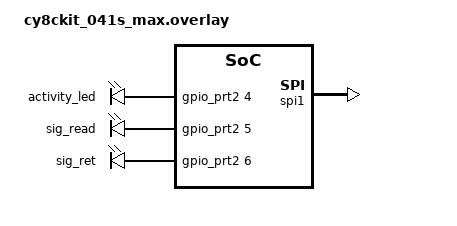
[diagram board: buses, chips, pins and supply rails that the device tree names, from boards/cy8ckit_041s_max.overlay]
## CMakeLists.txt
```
# SPDX-License-Identifier: Apache-2.0

cmake_minimum_required(VERSION 3.28.0)
find_package(Zephyr REQUIRED HINTS $ENV{ZEPHYR_BASE})
project(spi_psoc4_slave)

FILE(GLOB app_sources src/*.c)
target_sources(app PRIVATE ${app_sources})
```

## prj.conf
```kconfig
# SCB0 is the console UART on this board; it is repurposed as SPI slave
# here, so no UART/console is available in this sample.
CONFIG_SPI=y
CONFIG_SPI_SLAVE=y
CONFIG_GPIO=y

CONFIG_MAIN_STACK_SIZE=1024
CONFIG_ISR_STACK_SIZE=768
```

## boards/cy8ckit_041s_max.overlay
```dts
/*
 * SPDX-FileCopyrightText: <text>Copyright (c) 2026 Infineon Technologies AG,
 * or an affiliate of Infineon Technologies AG. All rights reserved.</text>
 *
 * SPDX-License-Identifier: Apache-2.0
 */

#include <zephyr/dt-bindings/gpio/gpio.h>

/* SCB1 is routed to the P2 header pins on this board. Slave mode needs the
 * hardware slave-select line (P2.3); the generic GPIO CS used by the master
 * sample does not apply here.
 *
 * Logic-analyzer / external-master probe points:
 *   MOSI -> P2.0
 *   MISO -> P2.1
 *   SCLK -> P2.2
 *   CS   -> P2.3 (hardware slave select, active low)
 */

&spi1 {
	compatible = "infineon,spi";
	status = "okay";
	pinctrl-0 = <&p2_0_scb1_spi_s_mosi &p2_1_scb1_spi_s_miso
		     &p2_2_scb1_spi_s_clk &p2_3_scb1_spi_s_select0>;
	pinctrl-names = "default";
};

&p2_0_scb1_spi_s_mosi {
	input-enable;
};

&p2_1_scb1_spi_s_miso {
	drive-push-pull;
};

&p2_2_scb1_spi_s_clk {
	input-enable;
};

&p2_3_scb1_spi_s_select0 {
	input-enable;
	bias-pull-up;
};

&gpio_prt2 {
	status = "okay";
};

/* The board has only LED0, so use spare P2 pins for activity and debug
 * markers. Verify these pins against the external wiring before probing.
 */
/ {
	leds {
		activity_led: activity_led {
			gpios = <&gpio_prt2 4 GPIO_ACTIVE_HIGH>;
		};
	};

	debug_signals {
		compatible = "gpio-leds";
		status = "okay";

		sig_read: sig_read {
			gpios = <&gpio_prt2 5 GPIO_ACTIVE_HIGH>;
		};

		sig_ret: sig_ret {
			gpios = <&gpio_prt2 6 GPIO_ACTIVE_HIGH>;
		};
	};

	aliases {
		led1 = &activity_led;
		sig0 = &sig_read;
		sig1 = &sig_ret;
	};
};
```

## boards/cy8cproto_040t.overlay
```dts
/*
 * SPDX-FileCopyrightText: <text>Copyright (c) 2026 Infineon Technologies AG,
 * or an affiliate of Infineon Technologies AG. All rights reserved.</text>
 *
 * SPDX-License-Identifier: Apache-2.0
 */

#include <zephyr/dt-bindings/gpio/gpio.h>

/* SCB0 is the only SPI-capable SCB on this package, so the hardware UART
 * console on SCB0 is disabled in favor of SPI slave mode. Slave mode needs
 * the hardware slave-select line (P2.5), since the generic GPIO CS used by
 * the master sample does not apply here. This sample has no console;
 * received commands are shown by toggling the onboard LED (LED0).
 *
 * Logic-analyzer / external-master probe points:
 *   MOSI -> P0.2
 *   MISO -> P0.3
 *   SCLK -> P2.4
 *   CS   -> P2.5 (hardware slave select, active low)
 */

uart0: &scb0 {
	status = "disabled";
};

spi1: &scb0 {
	compatible = "infineon,spi";
	status = "okay";
	/delete-property/ current-speed;
	pinctrl-0 = <&p0_2_scb0_spi_mosi &p0_3_scb0_spi_miso
		     &p2_4_scb0_spi_clk &p2_5_scb0_spi_select0>;
	pinctrl-names = "default";
	clocks = <&peri_clk_div1>;
	#address-cells = <1>;
	#size-cells = <0>;
};

&p0_2_scb0_spi_mosi {
	input-enable;
};

&p0_3_scb0_spi_miso {
	drive-push-pull;
};

&p2_4_scb0_spi_clk {
	input-enable;
};

&p2_5_scb0_spi_select0 {
	input-enable;
	bias-pull-up;
};

&gpio_prt0 {
	status = "okay";
};

&gpio_prt2 {
	status = "okay";
};

&peri_clk_div1 {
	status = "okay";
	clock-div = <3>;
};

/* Logic-analyzer debug markers (change pins to match your wiring):
 *   sig0 (P0.4): HIGH while blocked inside spi_read()
 *   sig1 (P0.1): HIGH when the last spi_read() returned 0, LOW on error
 */
/ {
	debug_signals {
		compatible = "gpio-leds";
		status = "okay";

		sig_read: sig_read {
			gpios = <&gpio_prt0 4 GPIO_ACTIVE_HIGH>;
		};

		sig_ret: sig_ret {
			gpios = <&gpio_prt0 1 GPIO_ACTIVE_HIGH>;
		};
	};

	aliases {
		sig0 = &sig_read;
		sig1 = &sig_ret;
	};
};
```

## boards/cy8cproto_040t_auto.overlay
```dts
/*
 * SPDX-FileCopyrightText: <text>Copyright (c) 2026 Infineon Technologies AG,
 * or an affiliate of Infineon Technologies AG. All rights reserved.</text>
 *
 * SPDX-License-Identifier: Apache-2.0
 */

#include <zephyr/dt-bindings/gpio/gpio.h>

/* SCB0 is the only SPI-capable SCB on this package, so the hardware UART
 * console on SCB0 is disabled in favor of SPI slave mode. Slave mode needs
 * the hardware slave-select line (P2.5), since the generic GPIO CS used by
 * the master sample does not apply here. This sample has no console;
 * received commands are shown by toggling the onboard LED (LED0).
 *
 * Logic-analyzer / external-master probe points:
 *   MOSI -> P0.2
 *   MISO -> P0.3
 *   SCLK -> P2.4
 *   CS   -> P2.5 (hardware slave select, active low)
 */

uart0: &scb0 {
	status = "disabled";
};

spi1: &scb0 {
	compatible = "infineon,spi";
	status = "okay";
	/delete-property/ current-speed;
	pinctrl-0 = <&p0_2_scb0_spi_mosi &p0_3_scb0_spi_miso
		     &p2_4_scb0_spi_clk &p2_5_scb0_spi_select0>;
	pinctrl-names = "default";
	clocks = <&peri_clk_div1>;
	#address-cells = <1>;
	#size-cells = <0>;
};

&p0_2_scb0_spi_mosi {
	input-enable;
};

&p0_3_scb0_spi_miso {
	drive-push-pull;
};

&p2_4_scb0_spi_clk {
	input-enable;
};

&p2_5_scb0_spi_select0 {
	input-enable;
	bias-pull-up;
};

&gpio_prt0 {
	status = "okay";
};

&gpio_prt2 {
	status = "okay";
};

&peri_clk_div1 {
	status = "okay";
    clock-div = <3>;
};

/* Logic-analyzer debug markers (change pins to match your wiring):
 *   sig0 (P0.4): HIGH while blocked inside spi_read()
 *   sig1 (P0.1): HIGH when the last spi_read() returned 0, LOW on error
 */
/ {
	debug_signals {
		compatible = "gpio-leds";
		status = "okay";

		sig_read: sig_read {
			gpios = <&gpio_prt0 4 GPIO_ACTIVE_HIGH>;
		};

		sig_ret: sig_ret {
			gpios = <&gpio_prt0 1 GPIO_ACTIVE_HIGH>;
		};
	};

	aliases {
		sig0 = &sig_read;
		sig1 = &sig_ret;
	};
};
```

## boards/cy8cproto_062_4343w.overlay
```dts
/*
 * SPDX-FileCopyrightText: <text>Copyright (c) 2026 Infineon Technologies AG,
 * or an affiliate of Infineon Technologies AG. All rights reserved.</text>
 *
 * SPDX-License-Identifier: Apache-2.0
 */

#include <zephyr/dt-bindings/gpio/gpio.h>

/* This board is PSOC6/CAT1A: ifx_cat1_spi_transfer_async() takes the
 * Cy_SCB_SPI_Transfer_Buffer() path (IFX_SPI_ASYMM_PDL_FUNC_AVAIL), not the
 * PSOC4 manual-chunking path the original slave-role bug was found in. This
 * overlay lets the same slave sample check whether the problem also shows
 * up on that different driver path.
 *
 * SCB3 has no pre-generated SPI pinctrl nodes (only I2C/UART), so its pins
 * are hand-defined below. SCB3 doubles as the board's default I2C bus
 * (i2c3); this overlay repurposes it for SPI slave mode instead. Slave mode
 * needs the hardware slave-select line (P6.3), since the generic GPIO CS
 * used by the master sample does not apply here.
 *
 * Logic-analyzer / external-master probe points:
 *   MOSI -> P6.0
 *   MISO -> P6.1
 *   SCLK -> P6.2
 *   CS   -> P6.3 (hardware slave select, active low)
 *
 * Only LED0 exists on this board, so LED1 (activity) and the sig0/sig1
 * logic-analyzer markers are mapped to spare P9 pins instead of real LEDs.
 */

spi1: &scb3 {
	compatible = "infineon,spi";
	status = "okay";

	pinctrl-0 = <&p6_0_scb3_spi_s_mosi &p6_1_scb3_spi_s_miso
		     &p6_2_scb3_spi_s_clk &p6_3_scb3_spi_s_select0>;
	pinctrl-names = "default";
};

&pinctrl {
	p6_0_scb3_spi_s_mosi: p6_0_scb3_spi_s_mosi {
		pinmux = <DT_CAT1_PINMUX(6, 0, HSIOM_SEL_ACT_8)>;
		input-enable;
	};

	p6_1_scb3_spi_s_miso: p6_1_scb3_spi_s_miso {
		pinmux = <DT_CAT1_PINMUX(6, 1, HSIOM_SEL_ACT_8)>;
		drive-push-pull;
	};

	p6_2_scb3_spi_s_clk: p6_2_scb3_spi_s_clk {
		pinmux = <DT_CAT1_PINMUX(6, 2, HSIOM_SEL_ACT_8)>;
		input-enable;
	};

	p6_3_scb3_spi_s_select0: p6_3_scb3_spi_s_select0 {
		pinmux = <DT_CAT1_PINMUX(6, 3, HSIOM_SEL_ACT_8)>;
		input-enable;
		bias-pull-up;
	};
};

/ {
	leds {
		activity_led: activity_led {
			gpios = <&gpio_prt9 0 GPIO_ACTIVE_HIGH>;
		};
	};

	debug_signals {
		compatible = "gpio-leds";
		status = "okay";

		sig_read: sig_read {
			gpios = <&gpio_prt9 1 GPIO_ACTIVE_HIGH>;
		};

		sig_ret: sig_ret {
			gpios = <&gpio_prt9 2 GPIO_ACTIVE_HIGH>;
		};
	};

	aliases {
		led1 = &activity_led;
		sig0 = &sig_read;
		sig1 = &sig_ret;
	};
};
```

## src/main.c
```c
/*
 * SPDX-FileCopyrightText: <text>Copyright (c) 2026 Infineon Technologies AG,
 * or an affiliate of Infineon Technologies AG. All rights reserved.</text>
 *
 * SPDX-License-Identifier: Apache-2.0
 */

#include <zephyr/kernel.h>
#include <zephyr/device.h>
#include <zephyr/devicetree.h>
#include <zephyr/drivers/spi.h>
#include <zephyr/drivers/gpio.h>
#include <zephyr/sys/printk.h>

#define SPI_NODE DT_NODELABEL(spi1)

/* 3-byte framed protocol: SOP, command, EOP. Only act on the command byte
 * when both frame markers are intact.
 */
#define PACKET_SOP_POS 0
#define PACKET_CMD_POS 1
#define PACKET_EOP_POS 2
#define PACKET_SOP     0x01U
#define PACKET_EOP     0x17U

#define LED_STATE_ON 0x01U

static const struct device *const spi_dev = DEVICE_DT_GET(SPI_NODE);
static const struct gpio_dt_spec led = GPIO_DT_SPEC_GET(DT_ALIAS(led0), gpios);
/* LED1 toggles on every completed SPI transfer, valid or not -- this tells
 * a stuck/dark LED0 (bad SOP/EOP) apart from a truly hung spi_read().
 */
static const struct gpio_dt_spec activity_led = GPIO_DT_SPEC_GET(DT_ALIAS(led1), gpios);

static const struct spi_config spi_cfg = {
	.frequency = 1000000,
	.operation = SPI_OP_MODE_PERIPHERAL | SPI_WORD_SET(8) | SPI_TRANSFER_MSB,
	.slave = 0,
};

int main(void)
{
	if (!device_is_ready(spi_dev) || !gpio_is_ready_dt(&led) ||
	    !gpio_is_ready_dt(&activity_led)) {
		return 0;
	}

	gpio_pin_configure_dt(&led, GPIO_OUTPUT_INACTIVE);
	gpio_pin_configure_dt(&activity_led, GPIO_OUTPUT_INACTIVE);

	uint8_t rx_buf[3];
	const struct spi_buf rx_spi_buf = {.buf = rx_buf, .len = sizeof(rx_buf)};
	const struct spi_buf_set rx_set = {.buffers = &rx_spi_buf, .count = 1};
	/* Only print repeated identical failures periodically, not every loop. */
	uint32_t fail_streak = 0;

	while (1) {
		int ret = spi_read(spi_dev, &spi_cfg, &rx_set);
		/* In slave mode a successful spi_read() returns the number of frames
		 * received, not 0; a full packet is sizeof(rx_buf) frames.
		 */
		bool ok = (ret == (int)sizeof(rx_buf));

		gpio_pin_toggle_dt(&activity_led);
		if (ok) {
			fail_streak = 0;
			printk("rx: %02x %02x %02x\n", rx_buf[0], rx_buf[1], rx_buf[2]);
		} else {
			fail_streak++;
			if (fail_streak == 1 || (fail_streak % 100) == 0) {
				printk("spi_read failed: %d (x%u so far)\n", ret, fail_streak);
			}
		}
		if (ok && rx_buf[PACKET_SOP_POS] == PACKET_SOP &&
		    rx_buf[PACKET_EOP_POS] == PACKET_EOP) {
			gpio_pin_set_dt(&led, rx_buf[PACKET_CMD_POS] == LED_STATE_ON);
		}
	}

	return 0;
}
```
